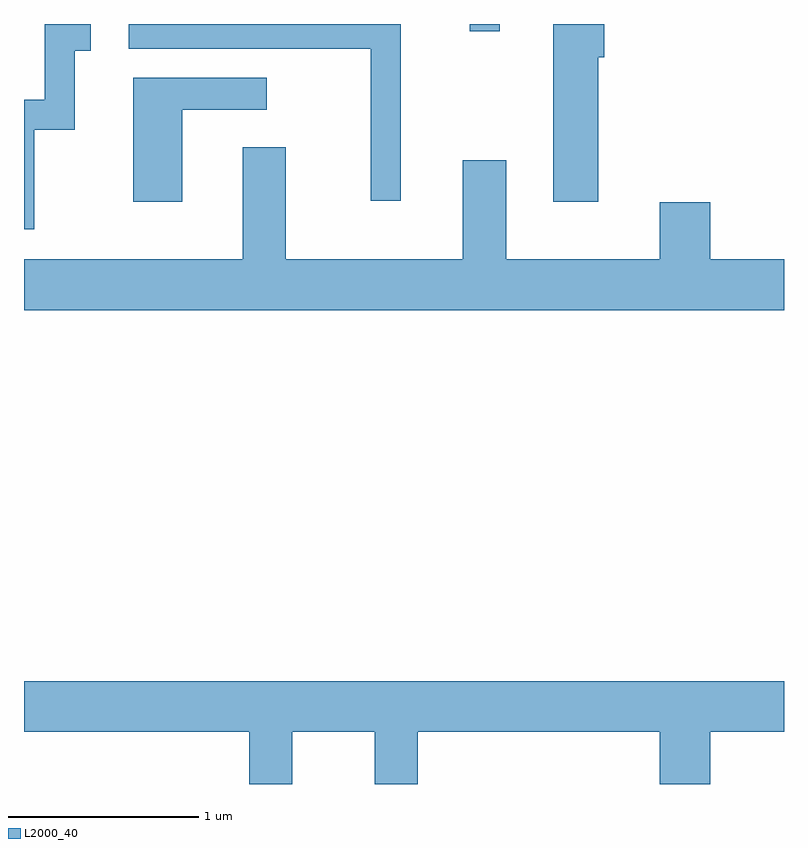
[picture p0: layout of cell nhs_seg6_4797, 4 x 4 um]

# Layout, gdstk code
import gdstk
lib = gdstk.Library(unit=1e-6, precision=1e-09)
def R(c, l, rs):  # rectangles x0, y0, x1, y1
    for r in rs: c.add(gdstk.rectangle(r[:2], r[2:], *l))
def P(c, l, *ps):  # polygons
    for p in ps: c.add(gdstk.Polygon(p, *l))
L2000_40 = (2000, 40)

nhs_seg6_4797 = lib.new_cell('nhs_seg6_4797')
R(nhs_seg6_4797, L2000_40, [(333.956,1598.123,334.114,1598.162)])
P(nhs_seg6_4797, L2000_40, [(331.664,1597.606),(331.879,1597.606),(331.879,1598.021),(331.963,1598.021),(331.963,1598.162),(331.721,1598.162),(331.721,1597.764),(331.611,1597.764),(331.611,1597.081),(331.664,1597.081)],
  [(333.594,1598.162),(332.163,1598.162),(332.163,1598.031),(333.436,1598.031),(333.436,1597.233),(333.594,1597.233)],
  [(334.634,1597.986),(334.664,1597.986),(334.664,1598.162),(334.396,1598.162),(334.396,1597.226),(334.634,1597.226)],
  [(332.444,1597.711),(332.888,1597.711),(332.888,1597.879),(332.186,1597.879),(332.186,1597.226),(332.444,1597.226)],
  [(335.611,1596.924),(335.224,1596.924),(335.224,1597.224),(334.956,1597.224),(334.956,1596.924),(334.149,1596.924),(334.149,1597.444),(333.921,1597.444),(333.921,1596.924),(332.989,1596.924),(332.989,1597.514),(332.761,1597.514),(332.761,1596.924),(331.611,1596.924),(331.611,1596.656),(335.611,1596.656)],
  [(333.024,1594.436),(333.456,1594.436),(333.456,1594.162),(333.684,1594.162),(333.684,1594.436),(334.956,1594.436),(334.956,1594.162),(335.224,1594.162),(335.224,1594.436),(335.611,1594.436),(335.611,1594.704),(331.611,1594.704),(331.611,1594.436),(332.796,1594.436),(332.796,1594.162),(333.024,1594.162)])

lib.write_gds('nhs_seg6_4797.gds')
